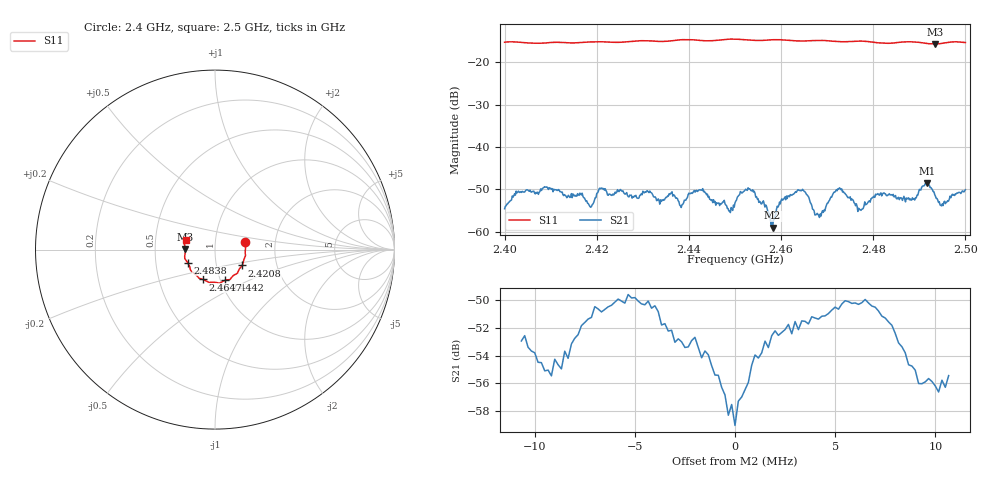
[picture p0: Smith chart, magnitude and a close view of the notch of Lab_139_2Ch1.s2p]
# Hz S RI R 50
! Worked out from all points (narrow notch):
!   601 points, 2.4 GHz to 2.5 GHz, reference 50 ohm
!   highest |S21| = -48.52 dB at 2.4917 GHz (marker M1); lowest = -59.0 dB at 2.4582 GHz (marker M2)
!   notch at M2: 7.6 dB deep, 1.8 MHz wide at half that depth
!   lowest |S11| = -15.6 dB at 2.4935 GHz (marker M3), VSWR 1.40, Z = 35.8 + j0.199 ohm
!   |S11| at or under -10 dB: start of sweep to end of sweep
!   S12 and S22 are empty: the file has one direction only
!   S11 on the Smith chart (normalised r, x): 2.4 GHz: 1.40, +0.12; 2.4208 GHz: 1.33, -0.24; 2.4442 GHz: 1.05, -0.37; 2.4647 GHz: 0.83, -0.28; 2.4838 GHz: 0.73, -0.11; 2.5 GHz: 0.71, +0.08
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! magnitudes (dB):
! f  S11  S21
! 2.4 GHz  -15.2  -54.6
! 2.4088 GHz  -15.4  -49.4
! 2.4167 GHz  -15.3  -51.3
! 2.4188 GHz  -15.1  -54.1
! 2.4208 GHz  -15.1  -49.9
! 2.4333 GHz  -15.0  -52.2
! 2.4442 GHz  -14.9  -51.8
! 2.45 GHz  -14.5  -53.2
! 2.4533 GHz  -14.7  -50.1
! 2.4582 GHz  -14.6  -59.0
! 2.4602 GHz  -14.7  -52.2
! 2.4647 GHz  -14.9  -50.0
! 2.4667 GHz  -14.8  -53.8
! 2.4687 GHz  -14.8  -56.3
! 2.4725 GHz  -15.1  -49.9
! 2.4772 GHz  -15.0  -54.8
! 2.4833 GHz  -15.5  -51.2
! 2.4838 GHz  -15.5  -51.3
! 2.4887 GHz  -15.1  -52.3
! 2.4917 GHz  -15.5  -48.5
! 2.4935 GHz  -15.6  -51.6
! 2.5 GHz  -15.3  -50.1
